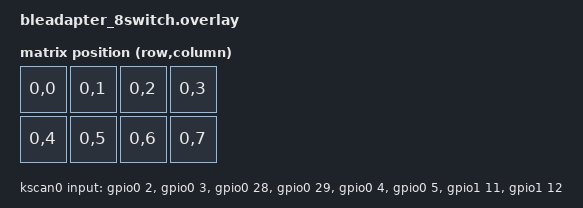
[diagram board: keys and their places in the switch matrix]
#include <dt-bindings/zmk/matrix_transform.h>

/ {
    chosen {
        zmk,kscan = &kscan0;
        zmk,matrix-transform = &default_transform;
    };

    kscan0: kscan {
        compatible = "zmk,kscan-gpio-direct";
        wakeup-source;

        // Schritt 0 bestaetigt: Buchsen 1..8 liegen auf XIAO D0..D7.
        // Alle Taster schalten gegen GND: aktiv LOW mit internem Pull-Up.
        input-gpios
            = <&gpio0 2  (GPIO_ACTIVE_LOW | GPIO_PULL_UP)>  // Buchse 1, D0/P0.02
            , <&gpio0 3  (GPIO_ACTIVE_LOW | GPIO_PULL_UP)>  // Buchse 2, D1/P0.03
            , <&gpio0 28 (GPIO_ACTIVE_LOW | GPIO_PULL_UP)>  // Buchse 3, D2/P0.28
            , <&gpio0 29 (GPIO_ACTIVE_LOW | GPIO_PULL_UP)>  // Buchse 4, D3/P0.29
            , <&gpio0 4  (GPIO_ACTIVE_LOW | GPIO_PULL_UP)>  // Buchse 5, D4/P0.04
            , <&gpio0 5  (GPIO_ACTIVE_LOW | GPIO_PULL_UP)>  // Buchse 6, D5/P0.05
            , <&gpio1 11 (GPIO_ACTIVE_LOW | GPIO_PULL_UP)>  // Buchse 7, D6/P1.11
            , <&gpio1 12 (GPIO_ACTIVE_LOW | GPIO_PULL_UP)>  // Buchse 8, D7/P1.12
            ;
    };

    default_transform: matrix_transform {
        compatible = "zmk,matrix-transform";
        rows = <1>;
        columns = <8>;

        // Direkte 1x8-Zuordnung: Keymap-Position 0..7 entspricht Buchse 1..8.
        map = <
            RC(0,0) RC(0,1) RC(0,2) RC(0,3)
            RC(0,4) RC(0,5) RC(0,6) RC(0,7)
        >;
    };
};

